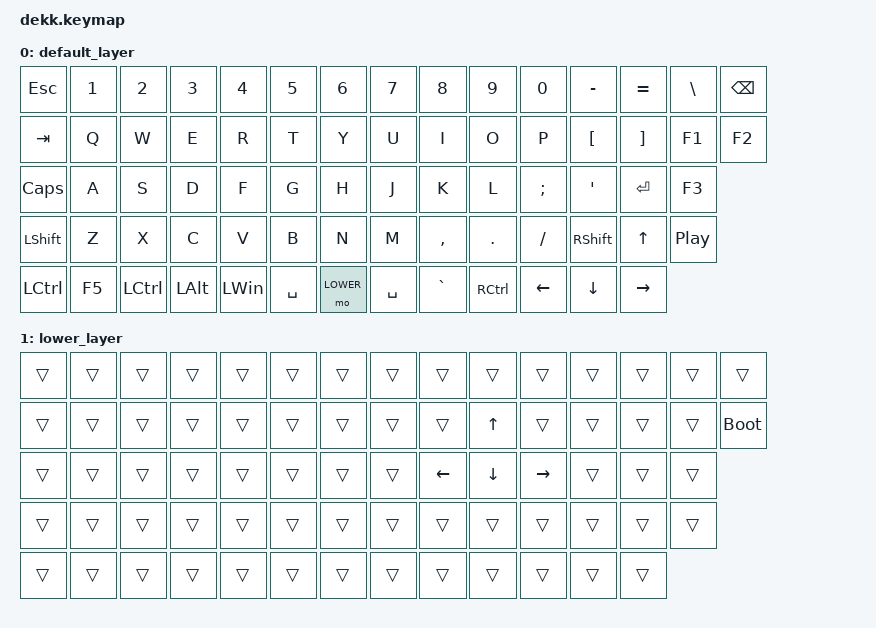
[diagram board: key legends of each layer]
#include <behaviors.dtsi>
#include <dt-bindings/zmk/keys.h>

#define DEFAULT 0
#define LOWER   1

/ {
    keymap {
        compatible = "zmk,keymap";

        default_layer {
            bindings = <
&kp ESC     &kp N1  &kp N2     &kp N3    &kp N4    &kp N5     &kp N6     &kp N7     &kp N8     &kp N9     &kp N0    &kp MINUS   &kp EQUAL  &kp BSLH          &kp BSPC
&kp TAB     &kp Q   &kp W      &kp E     &kp R     &kp T      &kp Y      &kp U      &kp I      &kp O      &kp P     &kp LBKT    &kp RBKT   &kp F1            &kp F2
&kp CAPS    &kp A   &kp S      &kp D     &kp F     &kp G      &kp H      &kp J      &kp K      &kp L      &kp SEMI  &kp APOS    &kp ENTER  &kp F3
&kp LSHIFT  &kp Z   &kp X      &kp C     &kp V     &kp B      &kp N      &kp M      &kp COMMA  &kp DOT    &kp FSLH  &kp RSHIFT  &kp UP     &kp C_PLAY_PAUSE
&kp LCTRL   &kp F5  &kp LCTRL  &kp LALT  &kp LWIN  &kp SPACE  &mo LOWER  &kp SPACE  &kp GRAVE  &kp RCTRL  &kp LEFT  &kp DOWN    &kp RIGHT
            >;
        };

        lower_layer {
            bindings = <
&trans  &trans  &trans  &trans  &trans  &trans  &trans  &trans  &trans    &trans    &trans     &trans  &trans  &trans  &trans
&trans  &trans  &trans  &trans  &trans  &trans  &trans  &trans  &trans    &kp UP    &trans     &trans  &trans  &trans  &bootloader
&trans  &trans  &trans  &trans  &trans  &trans  &trans  &trans  &kp LEFT  &kp DOWN  &kp RIGHT  &trans  &trans  &trans
&trans  &trans  &trans  &trans  &trans  &trans  &trans  &trans  &trans    &trans    &trans     &trans  &trans  &trans
&trans  &trans  &trans  &trans  &trans  &trans  &trans  &trans  &trans    &trans    &trans     &trans  &trans
            >;
        };
    };
};
